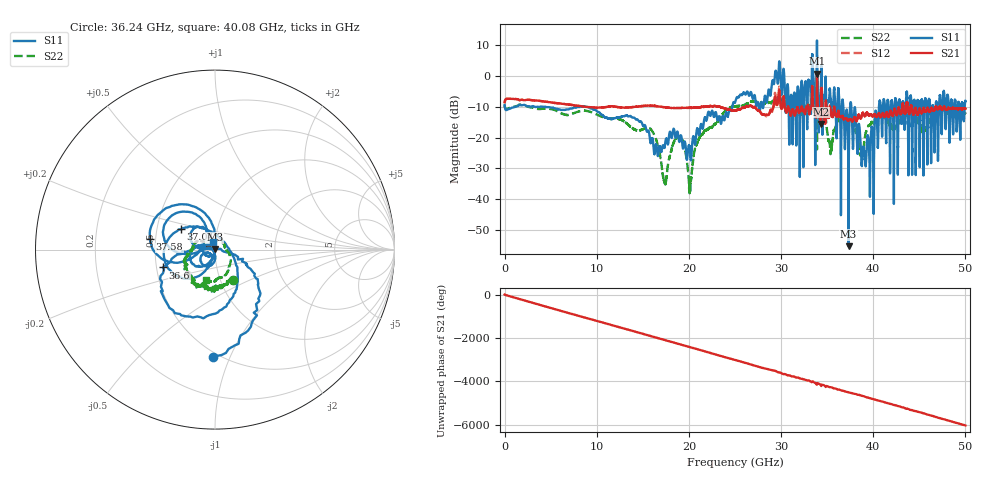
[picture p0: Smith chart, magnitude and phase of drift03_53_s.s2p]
!Created with skrf (http://scikit-rf.org).
# Hz S RI R 50.0
!freq ReS11 ImS11 ReS21 ImS21 ReS12 ImS12 ReS22 ImS22
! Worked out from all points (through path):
!   10001 points, 300 kHz to 50 GHz, reference 50 ohm
!   highest |S21| = 0.84 dB at 33.9 GHz (marker M1); lowest = -15.5 dB at 34.32 GHz (marker M2)
!   group delay of S21, straight-line fit = 335 ps
!   lowest |S11| = -55.3 dB at 37.33 GHz (marker M3), VSWR 1.00, Z = 49.9 + j0.135 ohm
!   |S11| at or under -10 dB: 4.464 GHz to 7.952 GHz (3.488 GHz wide, 56.2 % of centre); 9.02 GHz to 24.7 GHz (15.68 GHz wide, 93 % of centre); 37.62 GHz to 40.62 GHz (3 GHz wide, 7.67 % of centre) (the widest 3 of 63)
!   |S22| runs from -38.1 to -5.9 dB; largest |S21 - S12| = 0.11
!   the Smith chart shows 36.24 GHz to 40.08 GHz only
!   S11 on the Smith chart (normalised r, x): 36.24 GHz: 0.47, -0.86; 36.6 GHz: 0.54, -0.12; 37.04 GHz: 0.67, +0.16; 37.58 GHz: 0.46, +0.06; 40.08 GHz: 0.98, +0.08
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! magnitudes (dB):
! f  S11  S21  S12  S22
! 300 kHz  -9.4  -8.5  -8.5  -9.3
! 8.335 GHz  -9.9  -9.8  -9.8  -11.3
! 16.67 GHz  -25.5  -9.8  -9.8  -23.2
! 17.39 GHz  -22.7  -10.1  -10.1  -34.7
! 19.08 GHz  -19.6  -10.3  -10.3  -20.1
! 20.13 GHz  -24.7  -10.3  -10.3  -36.8
! 21.18 GHz  -18.0  -10.1  -10.1  -19.7
! 25 GHz  -8.5  -11.1  -11.1  -9.8
! 31.08 GHz  -6.1  -12.7  -12.7  -10.5
! 33.34 GHz  0.5  -7.4  -7.5  -9.4
! 33.9 GHz  11.6  0.8  0.4  -23.9
! 34.32 GHz  -2.9  -15.5  -14.9  -11.2
! 35.35 GHz  -6.4  -10.5  -10.0  -24.3
! 36.24 GHz  -4.5  -11.8  -11.7  -14.1
! 36.6 GHz  -10.3  -13.1  -13.1  -13.3
! 37.04 GHz  -13.1  -13.8  -14.0  -13.4
! 37.33 GHz  -55.3  -14.3  -14.5  -13.5
! 37.58 GHz  -8.7  -13.9  -13.8  -14.0
! 38.71 GHz  -26.6  -13.4  -13.3  -25.3
! 40.08 GHz  -27.3  -12.7  -12.7  -14.9
! 41.67 GHz  -9.5  -13.3  -13.2  -14.8
! 50 GHz  -8.0  -10.5  -10.5  -12.2
